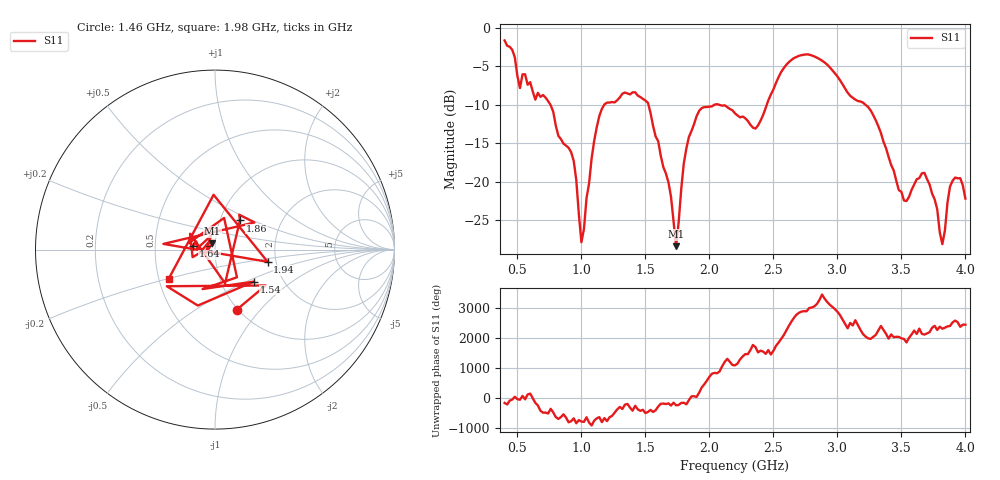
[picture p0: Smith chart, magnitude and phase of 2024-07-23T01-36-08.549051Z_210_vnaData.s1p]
!Created with skrf (http://scikit-rf.org).
# Hz S RI R 50.0
!freq ReS11 ImS11
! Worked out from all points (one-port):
!   181 points, 400 MHz to 4 GHz, reference 50 ohm
!   lowest |S11| = -28.4 dB at 1.74 GHz (marker M1), VSWR 1.08, Z = 48.4 + j3.41 ohm
!   |S11| at or under -10 dB: 758.3 MHz to 1.178 GHz (419.7 MHz wide, 43.4 % of centre); 1.524 GHz to 2.038 GHz (514.1 MHz wide, 28.9 % of centre); 3.22 GHz to end of sweep (the widest 3 of 4)
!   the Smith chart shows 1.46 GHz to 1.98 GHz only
!   S11 on the Smith chart (normalised r, x): 1.46 GHz: 0.99, -0.76; 1.54 GHz: 1.43, -0.55; 1.64 GHz: 0.78, +0.03; 1.86 GHz: 1.24, +0.42; 1.94 GHz: 1.80, -0.27; 1.98 GHz: 0.56, -0.20
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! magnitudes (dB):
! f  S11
! 400 MHz  -1.6
! 520 MHz  -7.8
! 720 MHz  -9.1
! 860 MHz  -15.0
! 940 MHz  -17.3
! 1 GHz  -27.8
! 1.14 GHz  -11.4
! 1.3 GHz  -9.0
! 1.46 GHz  -9.0
! 1.54 GHz  -11.1
! 1.64 GHz  -18.1
! 1.7 GHz  -21.9
! 1.74 GHz  -28.4
! 1.76 GHz  -25.2
! 1.8 GHz  -17.6
! 1.86 GHz  -13.4
! 1.94 GHz  -10.4
! 1.98 GHz  -10.3
! 2.2 GHz  -11.1
! 2.36 GHz  -13.1
! 2.66 GHz  -3.9
! 3.1 GHz  -8.8
! 3.26 GHz  -10.7
! 3.56 GHz  -21.9
! 3.68 GHz  -18.8
! 3.82 GHz  -28.1
! 3.9 GHz  -19.9
! 4 GHz  -22.2
